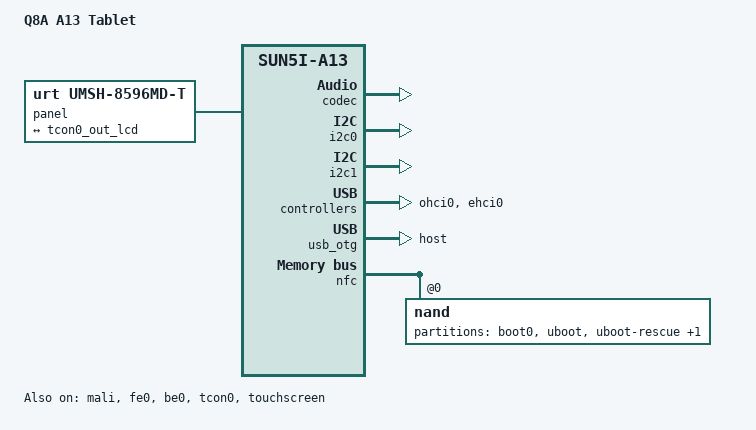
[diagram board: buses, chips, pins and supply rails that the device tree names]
/*
 * Copyright 2015 Hans de Goede <hdegoede@redhat.com>
 *
 * This file is dual-licensed: you can use it either under the terms
 * of the GPL or the X11 license, at your option. Note that this dual
 * licensing only applies to this file, and not this project as a
 * whole.
 *
 *  a) This file is free software; you can redistribute it and/or
 *     modify it under the terms of the GNU General Public License as
 *     published by the Free Software Foundation; either version 2 of the
 *     License, or (at your option) any later version.
 *
 *     This file is distributed in the hope that it will be useful,
 *     but WITHOUT ANY WARRANTY; without even the implied warranty of
 *     MERCHANTABILITY or FITNESS FOR A PARTICULAR PURPOSE.  See the
 *     GNU General Public License for more details.
 *
 * Or, alternatively,
 *
 *  b) Permission is hereby granted, free of charge, to any person
 *     obtaining a copy of this software and associated documentation
 *     files (the "Software"), to deal in the Software without
 *     restriction, including without limitation the rights to use,
 *     copy, modify, merge, publish, distribute, sublicense, and/or
 *     sell copies of the Software, and to permit persons to whom the
 *     Software is furnished to do so, subject to the following
 *     conditions:
 *
 *     The above copyright notice and this permission notice shall be
 *     included in all copies or substantial portions of the Software.
 *
 *     THE SOFTWARE IS PROVIDED "AS IS", WITHOUT WARRANTY OF ANY KIND,
 *     EXPRESS OR IMPLIED, INCLUDING BUT NOT LIMITED TO THE WARRANTIES
 *     OF MERCHANTABILITY, FITNESS FOR A PARTICULAR PURPOSE AND
 *     NONINFRINGEMENT. IN NO EVENT SHALL THE AUTHORS OR COPYRIGHT
 *     HOLDERS BE LIABLE FOR ANY CLAIM, DAMAGES OR OTHER LIABILITY,
 *     WHETHER IN AN ACTION OF CONTRACT, TORT OR OTHERWISE, ARISING
 *     FROM, OUT OF OR IN CONNECTION WITH THE SOFTWARE OR THE USE OR
 *     OTHER DEALINGS IN THE SOFTWARE.
 */

/dts-v1/;
#include "sun5i-a13.dtsi"
#include "sun5i-reference-design-tablet.dtsi"

/ {
	model = "Q8A A13 Tablet";
	compatible = "allwinner,q8-a13", "allwinner,sun5i-a13";

	panel: panel {
		compatible = "urt,umsh-8596md-t", "simple-panel";
		#address-cells = <1>;
		#size-cells = <0>;
		// power-supply = <&reg_vcc3v3>;
		// enable-gpios = <&axp_gpio 0 GPIO_ACTIVE_HIGH>; /* AXP GPIO0 */

		port@0 {
			reg = <0>;
			// backlight = <&backlight>;
			#address-cells = <1>;
			#size-cells = <0>;
			panel_input: endpoint@0 {
				reg = <0>;
				remote-endpoint = <&tcon0_out_lcd>;
			};
		};
	};
};

&mali {
	compatible = "arm,mali-400", "arm,mali-utgard";
	status = "okay";
};

&codec {
	status = "okay";
};

&fe0 {
	status = "okay";
};

&be0 {
	status = "okay";
};

&tcon0 {
	pinctrl-names = "default";
	pinctrl-0 = <&lcd_rgb666_pins>;
	status = "okay";
};

&tcon0_out {
	tcon0_out_lcd: endpoint@0 {
		reg = <0>;
		remote-endpoint = <&panel_input>;
	};
};

&i2c0 {
	status = "okay";
};

&i2c1 {
	status = "okay";
};

&touchscreen {
	compatible = "silead,gsl1680";
	touchscreen-size-x = <480>;
	touchscreen-size-y = <800>;
	touchscreen-inverted-y;
	touchscreen-swapped-x-y;
	silead,max-fingers = <5>;
	status = "okay";
};

&reg_usb0_vbus {
	regulator-always-on;
	status = "okay";
};

&ohci0 {
	status = "okay";
};

&ehci0 {
	status = "okay";
};

&usb_otg {
	dr_mode = "host";
	status = "okay";
};

&nfc {
	#address-cells = <1>;
	#size-cells = <0>;
	pinctrl-names = "default";
	pinctrl-0 = <&nand_pins>, <&nand_cs0_pin>, <&nand_rb0_pin>;
	status = "okay";

	nand@0 {
		reg = <0>;
		allwinner,rb = <0>;
		nand-ecc-mode = "hw";
		nand-on-flash-bbt;

		partitions {
			compatible = "fixed-partitions";
			#address-cells = <2>;
			#size-cells = <2>;

			boot0@0 {
				label = "boot0";
				reg = /bits/ 64 <0x0 0x200000>;
			};

			uboot@200000 {
				label = "uboot";
				reg = /bits/ 64 <0x200000 0x200000>;
			};

			uboot-rescue@400000 {
				label = "uboot-rescue";
				reg = /bits/ 64 <0x400000 0x200000>;
			};

			ubi@2000000 {
				label = "ubi";
				reg = /bits/ 64 <0x2000000 0xFE000000>;
				slc-mode;
			};
		};
	};
};
